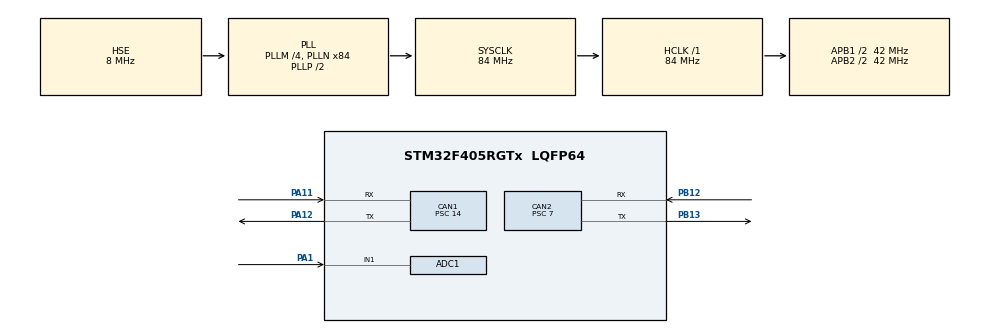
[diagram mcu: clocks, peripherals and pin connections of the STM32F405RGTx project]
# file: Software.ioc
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ADC1.Channel-0\#ChannelRegularConversion=ADC_CHANNEL_1
ADC1.Channel-1\#ChannelRegularConversion=ADC_CHANNEL_TEMPSENSOR
ADC1.ContinuousConvMode=ENABLE
ADC1.DMAContinuousRequests=ENABLE
ADC1.NbrOfConversion=2
ADC1.NbrOfConversionFlag=1
ADC1.Rank-0\#ChannelRegularConversion=1
ADC1.Rank-1\#ChannelRegularConversion=2
ADC1.SamplingTime-0\#ChannelRegularConversion=ADC_SAMPLETIME_480CYCLES
ADC1.SamplingTime-1\#ChannelRegularConversion=ADC_SAMPLETIME_480CYCLES
ADC1.ScanConvMode=ENABLE
ADC1.master=1
CAN1.BS1=CAN_BS1_2TQ
CAN1.BS2=CAN_BS2_3TQ
CAN1.CalculateBaudRate=499999
CAN1.CalculateTimeBit=2000
CAN1.CalculateTimeQuantum=333.33333333333337
CAN1.Prescaler=14
CAN2.BS1=CAN_BS1_2TQ
CAN2.BS2=CAN_BS2_3TQ
CAN2.CalculateBaudRate=999999
CAN2.CalculateTimeBit=1000
CAN2.CalculateTimeQuantum=166.66666666666669
CAN2.Prescaler=7
Dma.ADC1.0.Direction=DMA_PERIPH_TO_MEMORY
Dma.ADC1.0.FIFOMode=DMA_FIFOMODE_DISABLE
Dma.ADC1.0.Instance=DMA2_Stream0
Dma.ADC1.0.MemDataAlignment=DMA_MDATAALIGN_WORD
Dma.ADC1.0.MemInc=DMA_MINC_ENABLE
Dma.ADC1.0.Mode=DMA_CIRCULAR
Dma.ADC1.0.PeriphDataAlignment=DMA_PDATAALIGN_WORD
Dma.ADC1.0.PeriphInc=DMA_PINC_DISABLE
Dma.ADC1.0.Priority=DMA_PRIORITY_LOW
Dma.Request0=ADC1
Mcu.Family=STM32F4
Mcu.Name=STM32F405RGTx
Mcu.Package=LQFP64
NVIC.CAN1_RX0_IRQn=true\:0\:0\:false\:false\:true\:true\:true\:true
NVIC.CAN2_RX0_IRQn=true\:0\:0\:false\:false\:true\:true\:true\:true
NVIC.DMA2_Stream0_IRQn=true\:0\:0\:false\:false\:true\:false\:true\:true
NVIC.PriorityGroup=NVIC_PRIORITYGROUP_4
NVIC.TIM4_IRQn=true\:0\:0\:false\:false\:true\:true\:true\:true
PA1.Signal=ADCx_IN1
PA11.Mode=CAN_Activate
PA11.Signal=CAN1_RX
PA12.Mode=CAN_Activate
PA12.Signal=CAN1_TX
PA13.Mode=Serial_Wire
PA13.Signal=SYS_JTMS-SWDIO
PA14.Mode=Serial_Wire
PA14.Signal=SYS_JTCK-SWCLK
PB12.Mode=CAN_Activate
PB12.Signal=CAN2_RX
PB13.Mode=CAN_Activate
PB13.Signal=CAN2_TX
PC14-OSC32_IN.Mode=LSE-External-Oscillator
PC14-OSC32_IN.Signal=RCC_OSC32_IN
PC15-OSC32_OUT.Mode=LSE-External-Oscillator
PC15-OSC32_OUT.Signal=RCC_OSC32_OUT
PH0-OSC_IN.Mode=HSE-External-Oscillator
PH0-OSC_IN.Signal=RCC_OSC_IN
PH1-OSC_OUT.Mode=HSE-External-Oscillator
PH1-OSC_OUT.Signal=RCC_OSC_OUT
ProjectManager.HeapSize=0x200
ProjectManager.StackSize=0x400
ProjectManager.TargetToolchain=MDK-ARM V5.32
RCC.48MHZClocksFreq_Value=42000000
RCC.AHBFreq_Value=84000000
RCC.APB1CLKDivider=RCC_HCLK_DIV2
RCC.APB1Freq_Value=42000000
RCC.APB1TimFreq_Value=84000000
RCC.APB2CLKDivider=RCC_HCLK_DIV2
RCC.APB2Freq_Value=42000000
RCC.APB2TimFreq_Value=84000000
RCC.CortexFreq_Value=84000000
RCC.HCLKFreq_Value=84000000
RCC.HSE_VALUE=8000000
RCC.HSI_VALUE=16000000
RCC.PLLM=4
RCC.PLLN=84
RCC.PLLSourceVirtual=RCC_PLLSOURCE_HSE
RCC.PWR_Regulator_Voltage_Scale=PWR_REGULATOR_VOLTAGE_SCALE2
RCC.SYSCLKFreq_VALUE=84000000
RCC.SYSCLKSource=RCC_SYSCLKSOURCE_PLLCLK
RCC.VCOOutputFreq_Value=168000000
SH.ADCx_IN1.0=ADC1_IN1,IN1
TIM4.AutoReloadPreload=TIM_AUTORELOAD_PRELOAD_ENABLE
TIM4.Period=2
TIM4.Prescaler=42000-1
VP_ADC1_TempSens_Input.Mode=IN-TempSens
VP_TIM4_VS_ClockSourceINT.Mode=Internal
board=custom

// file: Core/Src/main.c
/* USER CODE BEGIN Header */
/**
  ******************************************************************************
  * @file           : main.c
  * @brief          : Main program body
  ******************************************************************************
  * @attention
  *
  * Copyright (c) 2023 STMicroelectronics.
  * All rights reserved.
  *
  * This software is licensed under terms that can be found in the LICENSE file
  * in the root directory of this software component.
  * If no LICENSE file comes with this software, it is provided AS-IS.
  *
  ******************************************************************************
  */
/* USER CODE END Header */
#include "main.h"

/* USER CODE BEGIN PD */
#define VOLTAGE_LIMIT 122
#define STR_LOCK_LEFT	5
#define STR_LOCK_RIGHT 195
#define GEAR_RATIO 4

/* USER CODE END PD */

ADC_HandleTypeDef hadc1;
DMA_HandleTypeDef hdma_adc1;

CAN_HandleTypeDef hcan1;
CAN_HandleTypeDef hcan2;

TIM_HandleTypeDef htim4;

/* USER CODE BEGIN PV */
CAN_TxHeaderTypeDef TxHeader;
CAN_RxHeaderTypeDef RxHeader;
CAN_FilterTypeDef sFilterConfig;

// MAIN CAN BUS RX ID'S
const uint32_t speed_ID 		= 0x5B;
const uint32_t steering_ID 	= 0x1A4;
const uint32_t setting_ID 	= 0x4E;
const uint32_t voltage_ID 	= 0xD;

// EPS CAN BUS Odrive specific ID's
const uint32_t Axis0_Get_Error = 0x003;
const uint32_t Axis0_Set_Input_Torque = 0x00e;
const uint32_t Axis0_Set_Limits = 0x00f;
const uint32_t Axis0_Get_Temperature = 0x015;
const uint32_t Axis0_Clear_Errors = 0x018;
const uint32_t Axis0_Get_Torques = 0x01c;
const uint32_t Axis0_Get_Controller_Error = 0x01d;
const uint32_t Axis0_Get_Encoder_Estimates = 0x009;

// MAIN CAN BUS RX BUFS
uint8_t mainRxData[8] = {0};
uint8_t	epsRxData [8] = {0};
uint8_t mainTempArray [2] = {0};
uint8_t epsTempArray [4] = {0};

// Converted value variables
uint8_t 	vehicle_spd = 0;			// km/h
uint16_t 	steering_pos = 0;			// degrees
uint8_t		battery_voltage = 0;	// V*10
uint8_t		eps_setting = 0;			// INT

//table for settings
float setting[12] = {0,10,20,30,40,50,60,70,75,80,90,95};

// Recieved values from Odrive
uint32_t error_code = 0;
uint32_t temp_fet = 0;
uint32_t torque_estimate = 0;
uint32_t encoder_estimate = 0;

uint32_t mailbox;

uint16_t MCU_Temp = 0;

uint32_t ADC_Buffer[2] = {0};

uint16_t Tx_Delay = 10; //change this
uint32_t ms = 0;

uint16_t delay1 = 100;	// internal temp counter delay
uint16_t delay2 = 10;		// set EPS torque delay
uint32_t ms1 = 0;
uint32_t ms2 = 0;
/* USER CODE END PV */

void SystemClock_Config(void);
static void MX_GPIO_Init(void);
static void MX_DMA_Init(void);
static void MX_CAN1_Init(void);
static void MX_CAN2_Init(void);
static void MX_ADC1_Init(void);
static void MX_TIM4_Init(void);
/* USER CODE BEGIN PFP */

void HAL_CAN_RxFifo0MsgPendingCallback(CAN_HandleTypeDef*hcan1);
void HAL_CAN_RxFifo1MsgPendingCallback(CAN_HandleTypeDef*hcan2);

int setEPSTorque();

/* USER CODE END PFP */

/* USER CODE BEGIN 0 */
void HAL_TIM_PeriodElapsedCallback(TIM_HandleTypeDef *htim)
{
	if(ms1 >= delay1){
		MCU_Temp = (uint16_t)((float)ADC_Buffer[1] * 0.322 - 282);	//get the mcu temperature from dma register
		ms1 = 0;
	}

  if(ms2 >= delay2)
  {
		setEPSTorque();
  }

  if(htim->Instance==TIM4)
	{
    ms++;
		ms1++;
		ms2++;
	}
}
/* USER CODE END 0 */

int main(void)
{

  /* MCU Configuration--------------------------------------------------------*/

  /* Reset of all peripherals, Initializes the Flash interface and the Systick. */
  HAL_Init();

  /* Configure the system clock */
  SystemClock_Config();

  /* Initialize all configured peripherals */
  MX_GPIO_Init();
  MX_DMA_Init();
  MX_CAN1_Init();
  MX_CAN2_Init();
  MX_ADC1_Init();
  MX_TIM4_Init();
  /* USER CODE BEGIN 2 */
	__HAL_RCC_CAN1_CLK_ENABLE();
	__HAL_RCC_CAN2_CLK_ENABLE();
  HAL_TIM_Base_Start_IT(&htim4);
	HAL_ADC_Start_DMA(&hadc1, ADC_Buffer, 2);
  /* USER CODE END 2 */

  /* Infinite loop */
  while (1)
  {

  }
}

void SystemClock_Config(void)
{
  RCC_OscInitTypeDef RCC_OscInitStruct = {0};
  RCC_ClkInitTypeDef RCC_ClkInitStruct = {0};

  /** Configure the main internal regulator output voltage
  */
  __HAL_RCC_PWR_CLK_ENABLE();
  __HAL_PWR_VOLTAGESCALING_CONFIG(PWR_REGULATOR_VOLTAGE_SCALE2);

  /** Initializes the RCC Oscillators according to the specified parameters
  * in the RCC_OscInitTypeDef structure.
  */
  RCC_OscInitStruct.OscillatorType = RCC_OSCILLATORTYPE_HSE;
  RCC_OscInitStruct.HSEState = RCC_HSE_ON;
  RCC_OscInitStruct.PLL.PLLState = RCC_PLL_ON;
  RCC_OscInitStruct.PLL.PLLSource = RCC_PLLSOURCE_HSE;
  RCC_OscInitStruct.PLL.PLLM = 4;
  RCC_OscInitStruct.PLL.PLLN = 84;
  RCC_OscInitStruct.PLL.PLLP = RCC_PLLP_DIV2;
  RCC_OscInitStruct.PLL.PLLQ = 4;
  if (HAL_RCC_OscConfig(&RCC_OscInitStruct) != HAL_OK)
  {
    Error_Handler();
  }

  /** Initializes the CPU, AHB and APB buses clocks
  */
  RCC_ClkInitStruct.ClockType = RCC_CLOCKTYPE_HCLK|RCC_CLOCKTYPE_SYSCLK
                              |RCC_CLOCKTYPE_PCLK1|RCC_CLOCKTYPE_PCLK2;
  RCC_ClkInitStruct.SYSCLKSource = RCC_SYSCLKSOURCE_PLLCLK;
  RCC_ClkInitStruct.AHBCLKDivider = RCC_SYSCLK_DIV1;
  RCC_ClkInitStruct.APB1CLKDivider = RCC_HCLK_DIV2;
  RCC_ClkInitStruct.APB2CLKDivider = RCC_HCLK_DIV2;

  if (HAL_RCC_ClockConfig(&RCC_ClkInitStruct, FLASH_LATENCY_2) != HAL_OK)
  {
    Error_Handler();
  }
}

static void MX_ADC1_Init(void)
{

  ADC_ChannelConfTypeDef sConfig = {0};

  /** Configure the global features of the ADC (Clock, Resolution, Data Alignment and number of conversion)
  */
  hadc1.Instance = ADC1;
  hadc1.Init.ClockPrescaler = ADC_CLOCK_SYNC_PCLK_DIV2;
  hadc1.Init.Resolution = ADC_RESOLUTION_12B;
  hadc1.Init.ScanConvMode = ENABLE;
  hadc1.Init.ContinuousConvMode = ENABLE;
  hadc1.Init.DiscontinuousConvMode = DISABLE;
  hadc1.Init.ExternalTrigConvEdge = ADC_EXTERNALTRIGCONVEDGE_NONE;
  hadc1.Init.ExternalTrigConv = ADC_SOFTWARE_START;
  hadc1.Init.DataAlign = ADC_DATAALIGN_RIGHT;
  hadc1.Init.NbrOfConversion = 2;
  hadc1.Init.DMAContinuousRequests = ENABLE;
  hadc1.Init.EOCSelection = ADC_EOC_SINGLE_CONV;
  if (HAL_ADC_Init(&hadc1) != HAL_OK)
  {
    Error_Handler();
  }

  /** Configure for the selected ADC regular channel its corresponding rank in the sequencer and its sample time.
  */
  sConfig.Channel = ADC_CHANNEL_1;
  sConfig.Rank = 1;
  sConfig.SamplingTime = ADC_SAMPLETIME_480CYCLES;
  if (HAL_ADC_ConfigChannel(&hadc1, &sConfig) != HAL_OK)
  {
    Error_Handler();
  }

  /** Configure for the selected ADC regular channel its corresponding rank in the sequencer and its sample time.
  */
  sConfig.Channel = ADC_CHANNEL_TEMPSENSOR;
  sConfig.Rank = 2;
  if (HAL_ADC_ConfigChannel(&hadc1, &sConfig) != HAL_OK)
  {
    Error_Handler();
  }

}

static void MX_CAN1_Init(void)
{

  hcan1.Instance = CAN1;
  hcan1.Init.Prescaler = 14;
  hcan1.Init.Mode = CAN_MODE_NORMAL;
  hcan1.Init.SyncJumpWidth = CAN_SJW_1TQ;
  hcan1.Init.TimeSeg1 = CAN_BS1_2TQ;
  hcan1.Init.TimeSeg2 = CAN_BS2_3TQ;
  hcan1.Init.TimeTriggeredMode = DISABLE;
  hcan1.Init.AutoBusOff = DISABLE;
  hcan1.Init.AutoWakeUp = DISABLE;
  hcan1.Init.AutoRetransmission = DISABLE;
  hcan1.Init.ReceiveFifoLocked = DISABLE;
  hcan1.Init.TransmitFifoPriority = DISABLE;
  if (HAL_CAN_Init(&hcan1) != HAL_OK)
  {
    Error_Handler();
  }
  /* USER CODE BEGIN CAN1_Init 2 */
/*##-2- Configure the CAN Filter ###########################################*/
	sFilterConfig.FilterBank = 0;
	sFilterConfig.FilterMode = CAN_FILTERMODE_IDMASK;
	sFilterConfig.FilterScale = CAN_FILTERSCALE_32BIT;
	sFilterConfig.FilterIdHigh = 0xFFFF;
	sFilterConfig.FilterIdLow = 0x0000;
	sFilterConfig.FilterMaskIdHigh = 0x0000;
	sFilterConfig.FilterMaskIdLow = 0x0000;
	sFilterConfig.FilterFIFOAssignment = CAN_FILTER_FIFO0;
	sFilterConfig.FilterActivation = ENABLE;
	sFilterConfig.SlaveStartFilterBank = 0;

	if (HAL_CAN_ConfigFilter(&hcan1, &sFilterConfig) != HAL_OK)
	{
	/* Filter configuration Error */
	Error_Handler();
	}

	/*##-3- Start the CAN peripheral ###########################################*/
	if (HAL_CAN_Start(&hcan1) != HAL_OK)
	{
	/* Start Error */
	Error_Handler();
	}
  if (HAL_CAN_ActivateNotification(&hcan1, CAN_IT_RX_FIFO0_MSG_PENDING | CAN_IT_TX_MAILBOX_EMPTY) != HAL_OK){
  /* Notification Error */
  Error_Handler();
  }
  /* USER CODE END CAN1_Init 2 */

}

static void MX_CAN2_Init(void)
{

  hcan2.Instance = CAN2;
  hcan2.Init.Prescaler = 7;
  hcan2.Init.Mode = CAN_MODE_NORMAL;
  hcan2.Init.SyncJumpWidth = CAN_SJW_1TQ;
  hcan2.Init.TimeSeg1 = CAN_BS1_2TQ;
  hcan2.Init.TimeSeg2 = CAN_BS2_3TQ;
  hcan2.Init.TimeTriggeredMode = DISABLE;
  hcan2.Init.AutoBusOff = DISABLE;
  hcan2.Init.AutoWakeUp = DISABLE;
  hcan2.Init.AutoRetransmission = DISABLE;
  hcan2.Init.ReceiveFifoLocked = DISABLE;
  hcan2.Init.TransmitFifoPriority = DISABLE;
  if (HAL_CAN_Init(&hcan2) != HAL_OK)
  {
    Error_Handler();
  }
  /* USER CODE BEGIN CAN2_Init 2 */
/*##-2- Configure the CAN Filter ###########################################*/
	sFilterConfig.FilterBank = 0;
	sFilterConfig.FilterMode = CAN_FILTERMODE_IDMASK;
	sFilterConfig.FilterScale = CAN_FILTERSCALE_32BIT;
	sFilterConfig.FilterIdHigh = 0xFFFF;
	sFilterConfig.FilterIdLow = 0x0000;
	sFilterConfig.FilterMaskIdHigh = 0x0000;
	sFilterConfig.FilterMaskIdLow = 0x0000;
	sFilterConfig.FilterFIFOAssignment = CAN_FILTER_FIFO1;
	sFilterConfig.FilterActivation = ENABLE;
	sFilterConfig.SlaveStartFilterBank = 0;

	if (HAL_CAN_ConfigFilter(&hcan2, &sFilterConfig) != HAL_OK)
	{
	/* Filter configuration Error */
	Error_Handler();
	}

	/*##-3- Start the CAN peripheral ###########################################*/
	if (HAL_CAN_Start(&hcan2) != HAL_OK)
	{
	/* Start Error */
	Error_Handler();
	}
  if (HAL_CAN_ActivateNotification(&hcan2, CAN_IT_RX_FIFO1_MSG_PENDING | CAN_IT_TX_MAILBOX_EMPTY) != HAL_OK){
  /* Notification Error */
  Error_Handler();
  }
  /* USER CODE END CAN2_Init 2 */

}

static void MX_TIM4_Init(void)
{

  TIM_ClockConfigTypeDef sClockSourceConfig = {0};
  TIM_MasterConfigTypeDef sMasterConfig = {0};

  htim4.Instance = TIM4;
  htim4.Init.Prescaler = 42000-1;
  htim4.Init.CounterMode = TIM_COUNTERMODE_UP;
  htim4.Init.Period = 2;
  htim4.Init.ClockDivision = TIM_CLOCKDIVISION_DIV1;
  htim4.Init.AutoReloadPreload = TIM_AUTORELOAD_PRELOAD_ENABLE;
  if (HAL_TIM_Base_Init(&htim4) != HAL_OK)
  {
    Error_Handler();
  }
  sClockSourceConfig.ClockSource = TIM_CLOCKSOURCE_INTERNAL;
  if (HAL_TIM_ConfigClockSource(&htim4, &sClockSourceConfig) != HAL_OK)
  {
    Error_Handler();
  }
  sMasterConfig.MasterOutputTrigger = TIM_TRGO_RESET;
  sMasterConfig.MasterSlaveMode = TIM_MASTERSLAVEMODE_DISABLE;
  if (HAL_TIMEx_MasterConfigSynchronization(&htim4, &sMasterConfig) != HAL_OK)
  {
    Error_Handler();
  }

}

static void MX_DMA_Init(void)
{

  /* DMA controller clock enable */
  __HAL_RCC_DMA2_CLK_ENABLE();

  /* DMA interrupt init */
  /* DMA2_Stream0_IRQn interrupt configuration */
  HAL_NVIC_SetPriority(DMA2_Stream0_IRQn, 0, 0);
  HAL_NVIC_EnableIRQ(DMA2_Stream0_IRQn);

}

static void MX_GPIO_Init(void)
{

  /* GPIO Ports Clock Enable */
  __HAL_RCC_GPIOC_CLK_ENABLE();
  __HAL_RCC_GPIOH_CLK_ENABLE();
  __HAL_RCC_GPIOA_CLK_ENABLE();
  __HAL_RCC_GPIOB_CLK_ENABLE();

}

/* USER CODE BEGIN 4 */

void CanDataTx_EPS(uint16_t stdID, uint8_t bufSize)
{
	TxHeader.StdId = stdID;
	TxHeader.IDE = CAN_ID_STD;
	TxHeader.RTR = CAN_RTR_DATA;
	TxHeader.DLC = bufSize;
	TxHeader.TransmitGlobalTime = DISABLE;
}

void HAL_CAN_RxFifo0MsgPendingCallback(CAN_HandleTypeDef*hcan1)
{
	// MAIN CAN BUS RX
	HAL_CAN_GetRxMessage(hcan1,CAN_RX_FIFO0,&RxHeader,mainRxData);

	switch (RxHeader.StdId)
	{
		case speed_ID:
			mainTempArray[0] = mainRxData[7];
			vehicle_spd = mainTempArray[0];
			break;

		case steering_ID:
			mainTempArray[0] = mainRxData[1];
			mainTempArray[1] = mainRxData[2];
			steering_pos = ((mainTempArray[0] + (mainTempArray[1] << 8)) - 18000) / 100;
			break;

		case voltage_ID:
			mainTempArray[0] = mainRxData[1];
			battery_voltage = mainTempArray[0];
			break;

		case setting_ID:
			mainTempArray[0] =mainRxData[6];
			eps_setting = mainTempArray[0];
			break;
	}

}

void HAL_CAN_RxFifo1MsgPendingCallback(CAN_HandleTypeDef*hcan2)
{
	// EPS CAN BUS RX
	HAL_CAN_GetRxMessage(hcan2,CAN_RX_FIFO1,&RxHeader,epsRxData);
	// TODO CREATE NEW RXHEADER
	switch (RxHeader.StdId)
	{
		case Axis0_Get_Error:
			epsTempArray[0] = epsRxData[0];
			epsTempArray[1] = epsRxData[1];
			epsTempArray[2] = epsRxData[2];
			epsTempArray[3] = epsRxData[3];
			error_code = epsTempArray[0] + (epsTempArray[1] << 8) + (epsTempArray[2] << 16) + (epsTempArray[3] << 24);
			break;

		case Axis0_Get_Temperature:
			epsTempArray[0] = epsRxData[0];
			epsTempArray[1] = epsRxData[1];
			epsTempArray[2] = epsRxData[2];
			epsTempArray[3] = epsRxData[3];
			temp_fet = epsTempArray[0] + (epsTempArray[1] << 8) + (epsTempArray[2] << 16) + (epsTempArray[3] << 24);
			break;

		case Axis0_Get_Torques:
			epsTempArray[0] = epsRxData[4];
			epsTempArray[1] = epsRxData[5];
			epsTempArray[2] = epsRxData[6];
			epsTempArray[3] = epsRxData[7];
			torque_estimate = epsTempArray[0] + (epsTempArray[1] << 8) + (epsTempArray[2] << 16) + (epsTempArray[3] << 24);
			break;

		case Axis0_Get_Encoder_Estimates:
			epsTempArray[0] = epsRxData[0];
			epsTempArray[1] = epsRxData[1];
			epsTempArray[2] = epsRxData[2];
			epsTempArray[3] = epsRxData[3];
			encoder_estimate = epsTempArray[0] + (epsTempArray[1] << 8) + (epsTempArray[2] << 16) + (epsTempArray[3] << 24);
			break;
	}

}

int setEPSTorque() {
	// TODO: MAKE PROPER SEND OVER CAN FUNCTION
	uint8_t TxData [4] = {0};
	CanDataTx_EPS(Axis0_Set_Input_Torque, sizeof(TxData));

	uint32_t strain_gauge_val = ADC_Buffer[0];	//convert to Nm
	uint32_t torque = 0;

	if (!(battery_voltage < VOLTAGE_LIMIT)) {
		torque = 0;
		return torque;
	}

	if ( steering_pos < STR_LOCK_RIGHT ) {
		torque = 0;
		return torque;
	}

	if ( steering_pos < STR_LOCK_RIGHT ) {
		torque = 0;
		return torque;
	}
	torque = setting[eps_setting] * (strain_gauge_val / GEAR_RATIO); //variables may need castin to float
	HAL_CAN_AddTxMessage(&hcan2, &TxHeader, TxData, &mailbox);
	return torque;
}

/* USER CODE END 4 */

void Error_Handler(void)
{
  __disable_irq();
  while (1)
  {
  }
}
